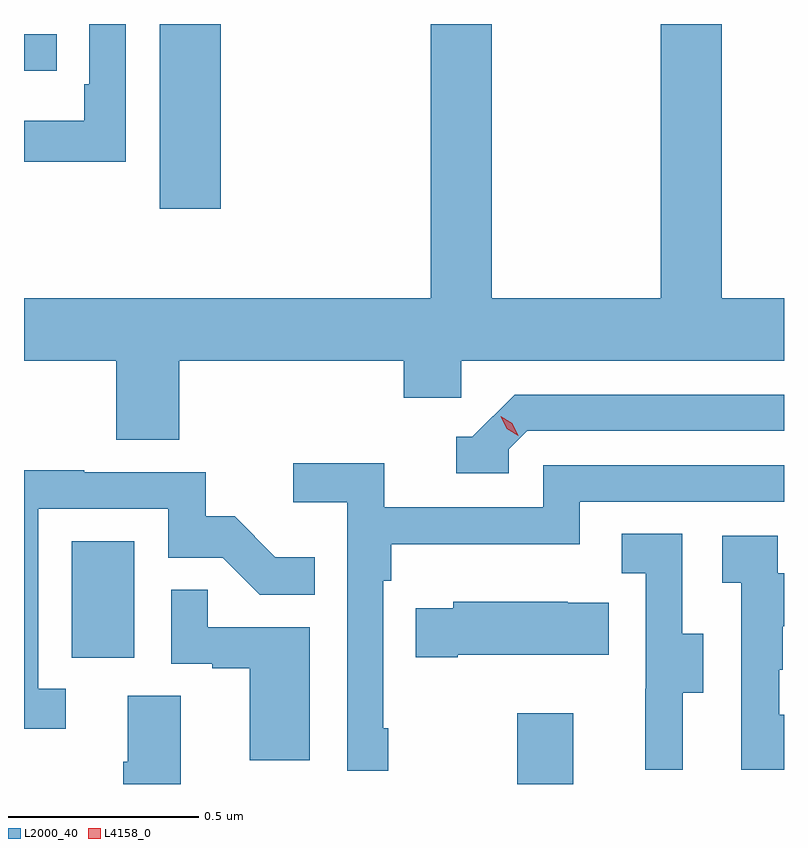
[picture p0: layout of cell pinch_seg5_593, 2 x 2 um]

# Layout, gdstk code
import gdstk
lib = gdstk.Library(unit=1e-6, precision=1e-09)
def R(c, l, rs):  # rectangles x0, y0, x1, y1
    for r in rs: c.add(gdstk.rectangle(r[:2], r[2:], *l))
def P(c, l, *ps):  # polygons
    for p in ps: c.add(gdstk.Polygon(p, *l))
L2000_40 = (2000, 40)
L4158_0 = (4158, 0)

pinch_seg5_593 = lib.new_cell('pinch_seg5_593')
R(pinch_seg5_593, L2000_40, [(1131.304,862.306,1131.451,862.492), (1130.132,862.638,1130.296,862.945), (1130.363,863.82,1130.524,864.306), (1130.006,864.183,1130.092,864.279)])
P(pinch_seg5_593, L2000_40, [(1130.414,863.42),(1131.005,863.42),(1131.005,863.322),(1131.156,863.322),(1131.156,863.42),(1132.006,863.42),(1132.006,863.584),(1131.842,863.584),(1131.842,864.306),(1131.682,864.306),(1131.682,863.584),(1131.237,863.584),(1131.237,864.306),(1131.077,864.306),(1131.077,863.584),(1130.006,863.584),(1130.006,863.42),(1130.249,863.42),(1130.249,863.212),(1130.414,863.212)],
  [(1130.274,864.306),(1130.178,864.306),(1130.178,864.148),(1130.165,864.148),(1130.165,864.052),(1130.006,864.052),(1130.006,863.943),(1130.274,863.943)],
  [(1131.282,863.187),(1131.33,863.235),(1132.006,863.235),(1132.006,863.331),(1131.297,863.331),(1131.186,863.22),(1131.143,863.22),(1131.143,863.124),(1131.282,863.124)],
  [(1130.965,862.453),(1130.952,862.453),(1130.952,862.841),(1130.972,862.841),(1130.972,862.937),(1131.468,862.937),(1131.468,863.049),(1132.006,863.049),(1132.006,863.145),(1131.372,863.145),(1131.372,863.034),(1130.954,863.034),(1130.954,863.15),(1130.715,863.15),(1130.715,863.048),(1130.856,863.048),(1130.856,862.341),(1130.965,862.341)],
  [(1130.116,862.557),(1130.043,862.557),(1130.043,863.031),(1130.385,863.031),(1130.385,862.902),(1130.529,862.902),(1130.627,862.804),(1130.771,862.804),(1130.771,862.903),(1130.667,862.903),(1130.56,863.01),(1130.484,863.01),(1130.484,863.127),(1130.165,863.127),(1130.165,863.132),(1130.006,863.132),(1130.006,862.452),(1130.116,862.452)],
  [(1131.739,862.546),(1131.793,862.546),(1131.793,862.701),(1131.738,862.701),(1131.738,862.964),(1131.579,862.964),(1131.579,862.861),(1131.642,862.861),(1131.642,862.557),(1131.641,862.557),(1131.641,862.344),(1131.739,862.344)],
  [(1132.006,862.488),(1131.993,862.488),(1131.993,862.607),(1132.003,862.607),(1132.003,862.721),(1132.006,862.721),(1132.006,862.861),(1131.99,862.861),(1131.99,862.959),(1131.843,862.959),(1131.843,862.835),(1131.894,862.835),(1131.894,862.344),(1132.006,862.344)],
  [(1130.758,862.719),(1130.489,862.719),(1130.489,862.817),(1130.394,862.817),(1130.394,862.623),(1130.501,862.623),(1130.501,862.611),(1130.6,862.611),(1130.6,862.368),(1130.758,862.368)],
  [(1131.148,862.646),(1131.545,862.646),(1131.545,862.783),(1131.437,862.783),(1131.437,862.786),(1131.135,862.786),(1131.135,862.768),(1131.037,862.768),(1131.037,862.639),(1131.148,862.639)],
  [(1130.419,862.538),(1130.279,862.538),(1130.279,862.364),(1130.267,862.364),(1130.267,862.306),(1130.419,862.306)])
P(pinch_seg5_593, L4158_0, [(1131.306,863.222),(1131.276,863.241),(1131.26,863.274),(1131.26,863.274),(1131.26,863.274),(1131.291,863.255),(1131.307,863.222),(1131.307,863.222)])

lib.write_gds('pinch_seg5_593.gds')
